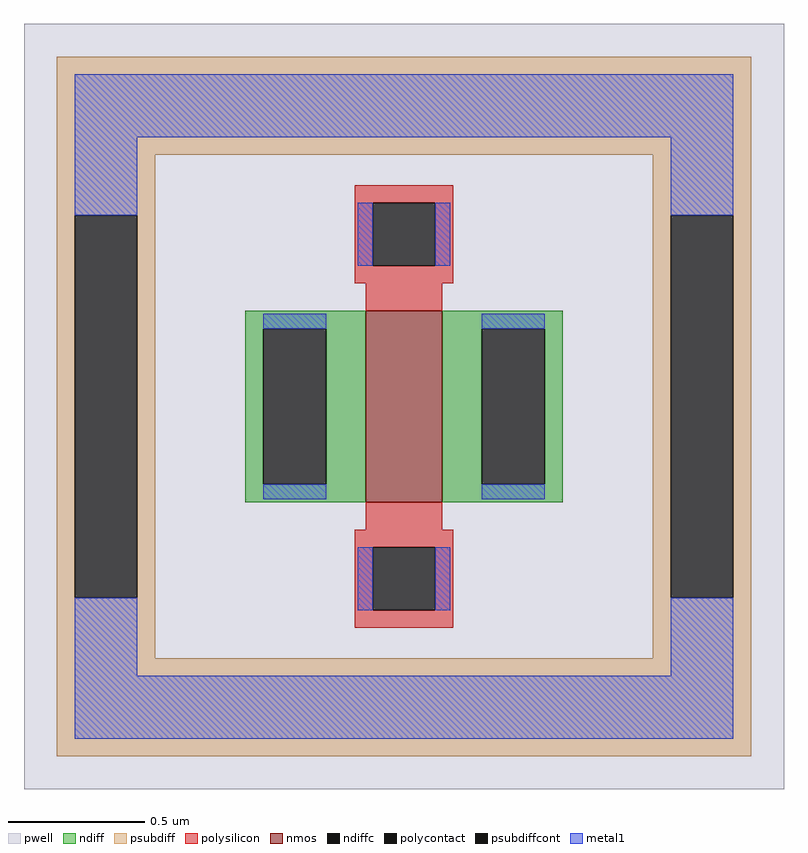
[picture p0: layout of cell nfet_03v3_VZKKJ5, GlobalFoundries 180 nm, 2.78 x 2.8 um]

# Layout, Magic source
magic
tech gf180mcuD
magscale 1 10
<< pwell >>
rect -278 -280 278 280
<< nmos >>
rect -28 -70 28 70
<< ndiff >>
rect -116 57 -28 70
rect -116 -57 -103 57
rect -57 -57 -28 57
rect -116 -70 -28 -57
rect 28 57 116 70
rect 28 -57 57 57
rect 103 -57 116 57
rect 28 -70 116 -57
<< ndiffc >>
rect -103 -57 -57 57
rect 57 -57 103 57
<< psubdiff >>
rect -254 184 254 256
rect -254 140 -182 184
rect -254 -140 -241 140
rect -195 -140 -182 140
rect 182 140 254 184
rect -254 -184 -182 -140
rect 182 -140 195 140
rect 241 -140 254 140
rect 182 -184 254 -140
rect -254 -256 254 -184
<< psubdiffcont >>
rect -241 -140 -195 140
rect 195 -140 241 140
<< polysilicon >>
rect -36 149 36 162
rect -36 103 -23 149
rect 23 103 36 149
rect -36 90 36 103
rect -28 70 28 90
rect -28 -90 28 -70
rect -36 -103 36 -90
rect -36 -149 -23 -103
rect 23 -149 36 -103
rect -36 -162 36 -149
<< polycontact >>
rect -23 103 23 149
rect -23 -149 23 -103
<< metal1 >>
rect -241 197 241 243
rect -241 140 -195 197
rect -34 103 -23 149
rect 23 103 34 149
rect 195 140 241 197
rect -103 57 -57 68
rect -103 -68 -57 -57
rect 57 57 103 68
rect 57 -68 103 -57
rect -241 -197 -195 -140
rect -34 -149 -23 -103
rect 23 -149 34 -103
rect 195 -197 241 -140
rect -241 -243 241 -197
<< properties >>
string FIXED_BBOX -218 -220 218 220
string gencell nfet_03v3
string library gf180mcu
string nfet_03v3_VZKKJ5 parameters
string parameters w 0.7 l 0.280 m 1 nf 1 diffcov 100 polycov 100 guard 1 glc 1 grc 1 gtc 0 gbc 0 tbcov 100 rlcov 100 topc 1 botc 1 poverlap 0 doverlap 1 lmin 0.28 wmin 0.22 class mosfet full_metal 1 compatible {nfet_03v3 nfet_06v0 nfet_06v0_nvt}
<< end >>
